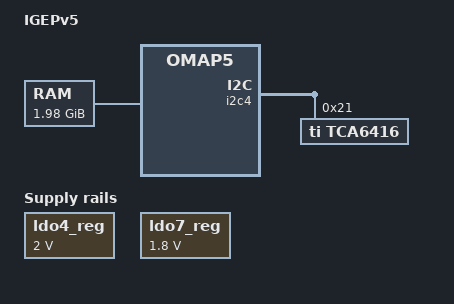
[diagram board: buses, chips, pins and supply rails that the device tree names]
/*
 * Copyright (C) 2013 ISEE 2007 SL - http://www.isee.biz/
 *
 * This program is free software; you can redistribute it and/or modify
 * it under the terms of the GNU General Public License version 2 as
 * published by the Free Software Foundation.
 */
/dts-v1/;

#include "omap5-board-common.dtsi"

/ {
	model = "IGEPv5";
	compatible = "isee,omap5-igep0050", "ti,omap5";

	memory {
		device_type = "memory";
		reg = <0x80000000 0x7f000000>; /* 2032 MB */
	};
};

&hdmi {
	vdda-supply = <&ldo7_reg>;
};

&i2c4 {
	pinctrl-names = "default";
	pinctrl-0 = <&i2c4_pins>;

	tca6416: tca6416@21 {
		compatible = "ti,tca6416";
		reg = <0x21>;
		gpio-controller;
		#gpio-cells = <2>;
	};
};

/* LDO4 is VPP1 - ball AD9 */
&ldo4_reg {
	regulator-min-microvolt = <2000000>;
	regulator-max-microvolt = <2000000>;
};

/*
 * LDO7 is used for HDMI: VDDA_DSIPORTA - ball AA33, VDDA_DSIPORTC - ball AE33,
 * VDDA_HDMI - ball AN25
 */
&ldo7_reg {
	status = "okay";
	regulator-min-microvolt = <1800000>;
	regulator-max-microvolt = <1800000>;
};

&omap5_pmx_core {
	i2c4_pins: pinmux_i2c4_pins {
		pinctrl-single,pins = <
			OMAP5_IOPAD(0x0f8, PIN_INPUT | MUX_MODE0)	/* i2c4_scl */
			OMAP5_IOPAD(0x0fa, PIN_INPUT | MUX_MODE0)	/* i2c4_sda */
		>;
	};
};

&tpd12s015 {
	gpios = <&tca6416 11 0>,	/* TCA6416 P01, CT_CP_HDP */
		<&tca6416 12 0>,	/* TCA6416 P00, LS_OE*/
		<&gpio7 1 0>,		/* 193, HPD */
		<&gpio7 2 0>,		/* 194, SCL */
		<&gpio7 3 0>;		/* 195, SDA */
};

&twl6040 {
	ti,audpwron-gpio = <&gpio5 16 GPIO_ACTIVE_HIGH>;  /* gpio line 144 */
};

&twl6040_pins {
	pinctrl-single,pins = <
		OMAP5_IOPAD(0x1c4, PIN_OUTPUT | MUX_MODE6)	/* mcspi1_somi.gpio5_144 */
		OMAP5_IOPAD(0x1ca, PIN_OUTPUT | MUX_MODE6)	/* perslimbus2_clock.gpio5_145 */
	>;
};
